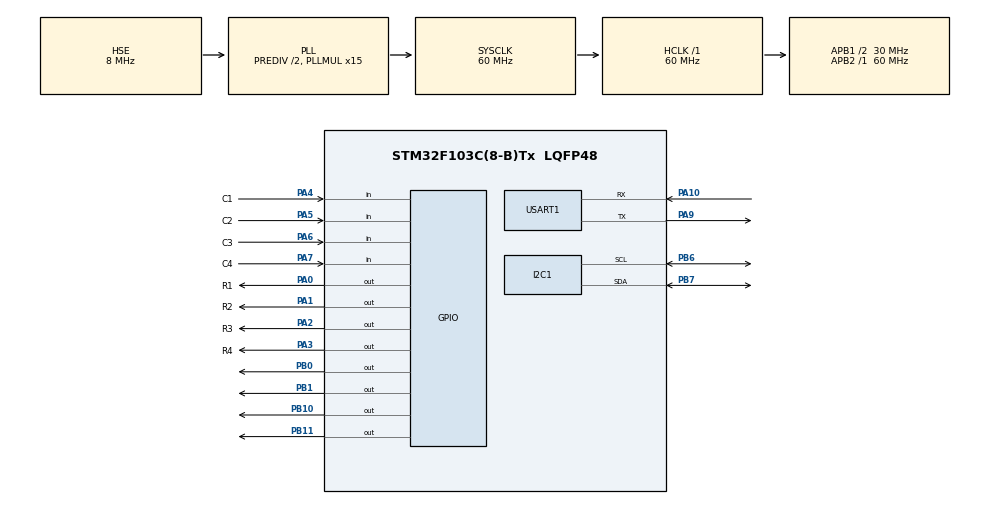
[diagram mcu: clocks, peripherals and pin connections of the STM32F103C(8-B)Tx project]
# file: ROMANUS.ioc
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Mcu.Family=STM32F1
Mcu.Name=STM32F103C(8-B)Tx
Mcu.Package=LQFP48
NVIC.PriorityGroup=NVIC_PRIORITYGROUP_4
NVIC.USART1_IRQn=true\:0\:0\:false\:false\:true\:true\:true\:true
PA0-WKUP.GPIO_Label=R1
PA0-WKUP.GPIO_ModeDefaultOutputPP=GPIO_MODE_OUTPUT_PP
PA0-WKUP.GPIO_PuPd=GPIO_PULLUP
PA0-WKUP.GPIO_Speed=GPIO_SPEED_FREQ_LOW
PA0-WKUP.PinState=GPIO_PIN_RESET
PA0-WKUP.Signal=GPIO_Output
PA1.GPIO_Label=R2
PA1.GPIO_ModeDefaultOutputPP=GPIO_MODE_OUTPUT_PP
PA1.GPIO_PuPd=GPIO_PULLUP
PA1.GPIO_Speed=GPIO_SPEED_FREQ_LOW
PA1.PinState=GPIO_PIN_RESET
PA1.Signal=GPIO_Output
PA10.Mode=Asynchronous
PA10.Signal=USART1_RX
PA13.Mode=Serial_Wire
PA13.Signal=SYS_JTMS-SWDIO
PA14.Mode=Serial_Wire
PA14.Signal=SYS_JTCK-SWCLK
PA2.GPIO_Label=R3
PA2.GPIO_ModeDefaultOutputPP=GPIO_MODE_OUTPUT_PP
PA2.GPIO_PuPd=GPIO_PULLUP
PA2.GPIO_Speed=GPIO_SPEED_FREQ_LOW
PA2.PinState=GPIO_PIN_RESET
PA2.Signal=GPIO_Output
PA3.GPIO_Label=R4
PA3.GPIO_ModeDefaultOutputPP=GPIO_MODE_OUTPUT_PP
PA3.GPIO_PuPd=GPIO_PULLUP
PA3.GPIO_Speed=GPIO_SPEED_FREQ_LOW
PA3.PinState=GPIO_PIN_RESET
PA3.Signal=GPIO_Output
PA4.GPIO_Label=C1
PA4.GPIO_Mode=GPIO_MODE_INPUT
PA4.GPIO_PuPd=GPIO_PULLUP
PA4.Signal=GPIO_Input
PA5.GPIO_Label=C2
PA5.GPIO_Mode=GPIO_MODE_INPUT
PA5.GPIO_PuPd=GPIO_PULLUP
PA5.Signal=GPIO_Input
PA6.GPIO_Label=C3
PA6.GPIO_Mode=GPIO_MODE_INPUT
PA6.GPIO_PuPd=GPIO_PULLUP
PA6.Signal=GPIO_Input
PA7.GPIO_Label=C4
PA7.GPIO_Mode=GPIO_MODE_INPUT
PA7.GPIO_PuPd=GPIO_PULLUP
PA7.Signal=GPIO_Input
PA9.Mode=Asynchronous
PA9.Signal=USART1_TX
PB0.Signal=GPIO_Output
PB1.Signal=GPIO_Output
PB10.Signal=GPIO_Output
PB11.Signal=GPIO_Output
PB6.Mode=I2C
PB6.Signal=I2C1_SCL
PB7.Mode=I2C
PB7.Signal=I2C1_SDA
PD0-OSC_IN.Mode=HSE-External-Oscillator
PD0-OSC_IN.Signal=RCC_OSC_IN
PD1-OSC_OUT.Mode=HSE-External-Oscillator
PD1-OSC_OUT.Signal=RCC_OSC_OUT
ProjectManager.HeapSize=0x200
ProjectManager.StackSize=0x400
ProjectManager.TargetToolchain=MDK-ARM V5.27
RCC.AHBFreq_Value=60000000
RCC.APB1CLKDivider=RCC_HCLK_DIV2
RCC.APB1Freq_Value=30000000
RCC.APB1TimFreq_Value=60000000
RCC.APB2Freq_Value=60000000
RCC.APB2TimFreq_Value=60000000
RCC.HCLKFreq_Value=60000000
RCC.HSEDivPLL=RCC_HSE_PREDIV_DIV2
RCC.PLLMUL=RCC_PLL_MUL15
RCC.PLLSourceVirtual=RCC_PLLSOURCE_HSE
RCC.SYSCLKFreq_VALUE=60000000
RCC.SYSCLKSource=RCC_SYSCLKSOURCE_PLLCLK
RCC.USBFreq_Value=60000000
USART1.VirtualMode=VM_ASYNC
board=custom

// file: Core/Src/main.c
/* USER CODE BEGIN Header */
/**
  ******************************************************************************
  * @file           : main.c
  * @brief          : Main program body
  ******************************************************************************
  * @attention
  *
  * Copyright (c) 2025 STMicroelectronics.
  * All rights reserved.
  *
  * This software is licensed under terms that can be found in the LICENSE file
  * in the root directory of this software component.
  * If no LICENSE file comes with this software, it is provided AS-IS.
  *
  ******************************************************************************
  */
/* USER CODE END Header */
#include "main.h"
/* USER CODE BEGIN Includes */
#include "i2c_lcd.h"
#include "keypad_4x4.h"
#include "stdio.h"
#include <stdlib.h>
#include <string.h>
#include <stdbool.h>
/* USER CODE END Includes */

/* USER CODE BEGIN PTD */
typedef enum{
	SMALL,
	BIG,
}lockerSize;

typedef enum{
	OPENED,
	LOCKED
}lockerState;

enum{
	ROOT_MENU,
	OPTION_1,
	OPTION_2,
	INVALID_KEY
};

typedef enum {
    OPEN_LOCKER,
    CLOSE_LOCKER,
    PRINT_OPENED_NOTICE,  //thong bao locker mo
    PASSWORD_AUTHEN,      //xac thuc mat khau co khop voi mat khau da luu hay không
    SET_NEW_PASSWORD,     //thiet lap mat khau moi
    WAIT_USER,            //cho hanh dong tu nguoi dung
    RELEASE_LOCKER,       //giai phong lock sau khi su dung
    FORCE_OPEN_LOCKER,    //mo locker khi khan cap
    HANDLE_LOCKER,        //su dung
    EXIT_USER_APP         //thoat khoi ung dung nguoi dung
} LockerHandlerState;

typedef enum {               //trang thai hoat dong cua he thong danh cho nguoi su dung
    PRINT_USER_MENU,         //trang thai mac dinh
    PRINT_LOCKERS_STATUS,    //hien thi trang thai tu
    SELECT_A_LOCKER,         //chon tu
    INVALID_USER_OPTION,     //khong hop le
    SET_LOCKER_PASSWORD,     //thiet lap mat khau
    EXIT_USER_MODE           //thoat khoi trang thai nguoi su dung
} UserState;

typedef enum {                //trang thai hoat dong cua he thong danh cho nguoi su dung
    PRINT_USER_MENU1,         //trang thai mac dinh
    PRINT_LOCKERS_STATUS1,    //hien thi trang thai tu
    SELECT_A_LOCKER1,         //chon tu
    INVALID_USER_OPTION1,     //khong hop le
    SET_LOCKER_PASSWORD1,     //thiet lap mat khau
    EXIT_USER_MODE1           //thoat khoi trang thai nguoi su dung
} UserState1;

/* USER CODE END PTD */

/* USER CODE BEGIN PD */
#define PASS_WORD_LENGTH 4
#define NUMBER_OF_LOCKERS 4
#define LOCKER_GPIO_PORT GPIOB
/* USER CODE END PD */

I2C_HandleTypeDef hi2c1;
I2C_LCD_HandleTypeDef lcd1;
UART_HandleTypeDef huart1;

/* USER CODE BEGIN PV */
uint8_t key = 0;
char Rx_data[11]={0};
uint8_t flag_interrupt=0;
/* USER CODE END PV */

void SystemClock_Config(void);
static void MX_GPIO_Init(void);
static void MX_I2C1_Init(void);
static void MX_USART1_UART_Init(void);

/* USER CODE BEGIN 0 */
struct Locker
{
	int lockerID;
	int userID;
	bool isOcupied;
	lockerSize size;
	lockerState state;
	bool isPasswordSet;
	uint16_t io;
	uint8_t password[PASS_WORD_LENGTH];
	uint8_t otp[PASS_WORD_LENGTH];
};

struct  Locker Lockers[NUMBER_OF_LOCKERS];

void initLocker(struct  Locker *Locker, int lockerID, lockerSize size, uint16_t GPIOPin)
{
	Locker->lockerID = lockerID;
	Locker->isOcupied = false;
	Locker->size = size;
	Locker->state = LOCKED;           //closed
	Locker->isPasswordSet = false;
	Locker->userID=-1;
	Locker->io = GPIOPin;
}

void openLocker(struct  Locker *Locker)
{
	HAL_GPIO_WritePin(LOCKER_GPIO_PORT, Locker->io, GPIO_PIN_SET);
}

void closeLocker(struct  Locker *Locker)
{
	HAL_GPIO_WritePin(LOCKER_GPIO_PORT, Locker->io, GPIO_PIN_RESET);
}

void setNumberOTP(struct Locker *Locker) {
    if (Locker == NULL) {
        return;
    }
    int a = 1000, b = 9999;
    int number = rand() % (b - a + 1) + a;
    memset(Locker->otp, 0, PASS_WORD_LENGTH);
    snprintf((char *)Locker->otp, 5, "%d", number);
		return;
}

void setPassword(struct  Locker *Locker, uint8_t *pw, int pwLen)
{
	if(pw == NULL || pwLen != PASS_WORD_LENGTH)
	{
		return;
	}
	Locker->isPasswordSet = 1;
	memcpy(Locker->password, pw, PASS_WORD_LENGTH);
	return;
}
/**
 * @brief return 0 if password matched
 *
 * @param Locker
 * @param pw
 * @param pwLen
 * @return int
 */
int validateLockerAccess(struct Locker *Locker, uint8_t *input, int length) {
    if (!Locker->isOcupied || input == NULL || length != PASS_WORD_LENGTH) {
        return 0;
    }
    if (memcmp(Locker->password, input, PASS_WORD_LENGTH) == 0 ||
        memcmp(Locker->otp, input, PASS_WORD_LENGTH) == 0) {
        return 1;
    }
    return 0;
}

void changePassword(struct  Locker *Locker, uint8_t *pw, int pwLen)
{

}

struct Locker *getNewLocker(lockerSize size)
{
	for(int i = 0; i < NUMBER_OF_LOCKERS; i++)
	{
		if(!Lockers[i].isOcupied && !Lockers[i].isPasswordSet && Lockers[i].size == size)   //chua duoc su dung, co kich thuoc dung
		{
			return &Lockers[i];
		}
	}
	return NULL;
}

void assignLockerToUser(int userID, struct Locker *locker)  //gan locker cho nguoi dung
{
	locker->userID = userID;//chi dinh nguoi dung
	locker->isOcupied = true;  //da duoc su dung
	locker->state = OPENED;
	locker->isPasswordSet = true; //ky la*****
}

void releaseLocker(struct Locker *locker)   //giai phong locker, ve trang thai chua co nguoi dung
{
	locker->userID = 0;
	locker->isOcupied = false;
	locker->state = OPENED;
	locker->isPasswordSet = false;
}
void lcd_print(int line, char *str)
{
	if(str == NULL || (line != 0 && line != 1))
		return;
	lcd_gotoxy(&lcd1, 0, line);
	lcd_puts(&lcd1, str);
}

void printDemoWelcome(void)
{
	lcd_clear(&lcd1);
	lcd_print(0, "STM32 I2C LCD");
	lcd_print(1, "Library Demo");
}

void printRootMenu(void)
{
	lcd_clear(&lcd1);
	lcd_print(0, "1.GUI DO");
	lcd_print(1, "2.LAY DO");
}

void printInvalidOption(void)     //khi nhan nut khong hop le
{
	lcd_clear(&lcd1);
	lcd_print(0, "Invalid option");
	lcd_print(1, "Please again!");
}

void printNoLockerAvailable(void)  //khong còn locker free
{
	lcd_clear(&lcd1);
	lcd_print(0, "Not found!");
	lcd_print(1, "Try again!");
}

void printUserMenu(void)
{
	lcd_clear(&lcd1);
	lcd_print(0, "1. Check Locker Status");
	lcd_print(1, "2. Select a Locker");
}

void printUserMenu1(void)
{
	lcd_clear(&lcd1);
	lcd_print(0, "1. Check Locker Status");
	lcd_print(1, "2. Choose your Locker");
}

void printSelectLockerSize(void)
{
	lcd_clear(&lcd1);
	lcd_print(0, "1. Small Locker");
	lcd_print(1, "2. Big Locker");
}

void printLockerOpenned(struct Locker *mLocker) //hien thi len LCD 1 locker dang mo va yeu cau nguoi dung thiet lap mat khau
{
	lcd_clear(&lcd1);
	char outStr[16];
	snprintf(outStr, 16, "L%d[%c] open, hit",mLocker->lockerID, mLocker->size == SMALL?'S':'B');  //xem xet
	lcd_print(0, outStr);
	lcd_print(1, "a key to set pw");
}
void printLockerClosed(struct Locker *mLocker)  //hien thi thong tin locker dóng thông báo tam biet
{
	lcd_clear(&lcd1);
	char outStr[16];
	snprintf(outStr, 16, "L%d[%c] closed",mLocker->lockerID, mLocker->size == SMALL?'S':'B');  //xem xet
	lcd_print(0, outStr);
	lcd_print(1, "Goodbye...");
}
void printPasswordNotMatch()  //mat khau khong khop
{
	lcd_clear(&lcd1);
	lcd_print(0, "PW not matched");
}

void printPasswordSetSuccess()   //mat khau phu hop
{
	lcd_clear(&lcd1);
	lcd_print(0, "PW is set");
	lcd_print(1, "Sucessful");
}

void printReleaseChoice()  //lua chon tiep tuc su dung hay tra lai tu
{
	lcd_clear(&lcd1);
	lcd_print(0, "Welcome back!");
	HAL_Delay(2000);
	lcd_clear(&lcd1);
	lcd_print(0, "1.Keep using");
	lcd_print(1, "2.Release locker");
}

void printEnjoy(void)   //thong bao nguoi su dung hoan tat viec su dung locker, yeu cau nhan phim bat ky de dóng
{
	lcd_clear(&lcd1);
	lcd_print(0, "Enjoy your");
	lcd_print(1, "locker!");
	HAL_Delay(2000);
	lcd_clear(&lcd1);
	lcd_print(0, "Done? Press Any");
	lcd_print(1, "key to close");
}
void printLockerStatus(void)
{
	char outStr[16];
	lcd_clear(&lcd1);
	int line = 0;
	int offset = 0; //dieu chinh vi tri bat dau in

	for(int i = 0; i < NUMBER_OF_LOCKERS; i++)
	{
		snprintf(outStr, 16, "L%d[%c] %s", Lockers[i].lockerID, \
		Lockers[i].size == SMALL?'S':'B', Lockers[i].isOcupied?"BUSY":"FREE");

		lcd_gotoxy(&lcd1, offset, line);
		lcd_puts(&lcd1, outStr);
		offset += 8;
		if(offset/16){
			line +=1;
			offset = 0;
		}
	}
}

bool isFreeLocker(struct Locker *mLocker)
{
	return !mLocker->isOcupied;
}

void UART_SendString(UART_HandleTypeDef *huart, char *str){
    if(flag_interrupt == 0) {
        flag_interrupt = 1;
        HAL_UART_Transmit_IT(huart, (uint8_t*) str, strlen(str));
    }
}

void HAL_UART_TxCpltCallback(UART_HandleTypeDef *huart)
{
    if (huart->Instance == USART1)
    {
        flag_interrupt = 0;
    }
}

//selectedLocker = key -'0' ;
//Lockers[selectedLocker].lockerID = key ;
//mLocker->lockerID = Lockers[selectedLocker].lockerID;
struct Locker *getYourLocker(int yourLockerID){
    lcd_clear(&lcd1);
    lcd_print(0, "Choose your locker:");
    uint8_t key = 0;
    int count = 0;
    uint8_t selectedLocker = NULL;
	  char lockerStr[2];
    while (1) {
        key = keypad_get_key_value();

        if (key == '0' || key == '1' || key == '2' || key == '3') {
            selectedLocker = key - '0';
					  snprintf(lockerStr, sizeof(lockerStr), "%d", selectedLocker);
            lcd_gotoxy(&lcd1, count++, 1);
            lcd_puts(&lcd1,lockerStr);
        } else if (key == '#') {
            if (count > 0) break;
        }
				else{
					lcd_clear(&lcd1);
          lcd_print(0, "Invalid key!");
          HAL_Delay(1000);
          lcd_clear(&lcd1);
          lcd_print(0, "Choose your locker:");
				}
        HAL_Delay(200);
    }

    yourLockerID = selectedLocker;
    lcd_clear(&lcd1);
    lcd_print(0, "Locker Selected:");
    char outStr[16];
    snprintf(outStr, 16, "Locker %d", yourLockerID);
    lcd_gotoxy(&lcd1, 0, 1);
    lcd_print(1, outStr);
    return &Lockers[yourLockerID];
}

void getPasswordForKeyPass(uint8_t *pw)
{
	lcd_clear(&lcd1);
	lcd_print(0, "PW-4digit"); // Enter 4 last digits, and hit Enter.
	int count = 0;
	uint8_t key;
	key = keypad_get_key_value();

	while(key != '#' || count < PASS_WORD_LENGTH)
	{
		if(count < PASS_WORD_LENGTH){
			pw[count]= key;
			lcd_gotoxy(&lcd1, count++, 1);
			lcd_puts(&lcd1, "*");
		}else{
			for(int i = 0; i < PASS_WORD_LENGTH - 1; i++)      //khi vuot quá do dài mat khau, dich mang và thêm ký tu moi
			{
				pw[i] = pw[i+1];
			}
			pw[PASS_WORD_LENGTH - 1]= key - '0';
		}
		key = keypad_get_key_value();
	}
	return;
}

void getVerifyPassword(uint8_t *pw)
{
	lcd_clear(&lcd1);
	lcd_print(0, "Verify PW"); // Enter 4 last digits, and hit Enter.
	int count = 0;
	uint8_t key;
	key = keypad_get_key_value();
	while(key != '#' || count < PASS_WORD_LENGTH)
	{
		if(count < PASS_WORD_LENGTH){
			pw[count]= key;
			lcd_gotoxy(&lcd1, count++, 1);
			lcd_puts(&lcd1, "*");
		}else{
			for(int i = 0; i < PASS_WORD_LENGTH - 1; i++)
			{
				pw[i] = pw[i+1];
 			}
			pw[PASS_WORD_LENGTH - 1]= key - '0';
		}
		key = keypad_get_key_value();
	}
	return;
}

int lockerHandler(struct Locker *mLocker)
{
	int _state = OPEN_LOCKER;
	uint8_t pw[PASS_WORD_LENGTH];    //luu tru mat khau
	uint8_t confirmPW[PASS_WORD_LENGTH];   //mat khau xac nhan
	memset(pw, 0, PASS_WORD_LENGTH);
	memset(confirmPW, 0, PASS_WORD_LENGTH);
	uint8_t key;
	while(1)
	{
		switch(_state){
			case OPEN_LOCKER:
				if(isFreeLocker(mLocker))   //kiem tra locker dang ranh hay không
				{
					// do open.
					openLocker(mLocker);   //open locker
					_state = PRINT_OPENED_NOTICE;   //thong bao
				}
				else{
					_state = PASSWORD_AUTHEN;   //tu da duoc dung. xac nhan xem mat khau co dung không
				}
				break;
			case FORCE_OPEN_LOCKER:  //mo khân câp
				// do open here
				openLocker(mLocker);
			  setNumberOTP(mLocker);
			  char msg[30];
			  sprintf(msg,"L%d is Opened. New OTP:%s\r\n",mLocker->lockerID, mLocker->otp);
        UART_SendString(&huart1, msg);
				printReleaseChoice();
				key = keypad_get_key_value();
				if(key == '1')
				{
					_state = WAIT_USER;      //tiep tuc su dung
				}else if(key == '2')
				{
					_state = RELEASE_LOCKER;  //tra lai tu
				}
				break;
			case PRINT_OPENED_NOTICE:   //hien thi thong bao tu duoc mo,doi nguoi dung nhan phim xac nhan
				printLockerOpenned(mLocker);
				keypad_get_key_value();//....
				_state = SET_NEW_PASSWORD;
				break;
			case PASSWORD_AUTHEN:         //xac thuc mat khau
			 	getPasswordForKeyPass(pw);  //lay mat khau nguoi dung thông qua keypad
			if(validateLockerAccess(mLocker, pw, PASS_WORD_LENGTH)==1)   //kiem tra mat khau nhap vao
				{
					// match
					_state = FORCE_OPEN_LOCKER;  //mo tu
				}else{
					printPasswordNotMatch();
					HAL_Delay(2000);
					_state = EXIT_USER_APP; //thoat thao tac
				}
				break;

			case SET_NEW_PASSWORD:   //nhap pass moi
				getPasswordForKeyPass(pw);
				getVerifyPassword(confirmPW);
				if(memcmp(pw, confirmPW, PASS_WORD_LENGTH) == 0)
				{
					// matched:
					setPassword(mLocker, pw, PASS_WORD_LENGTH);
					printPasswordSetSuccess();
					HAL_Delay(2000);
					_state = WAIT_USER;
				}else{
					printPasswordNotMatch(); // set new password again
					HAL_Delay(2000);
				}
				break;
			case WAIT_USER:
				printEnjoy();
				assignLockerToUser(mLocker->lockerID, mLocker);          //xac nhan dang su dung tu hoan tat
				keypad_get_key_value();
				_state = CLOSE_LOCKER;
			  break;
			case CLOSE_LOCKER:
				// Do close here;
				closeLocker(mLocker);
			  mLocker->state = LOCKED;
				printLockerClosed(mLocker);
			  HAL_Delay(3000);
				_state = EXIT_USER_APP;
				break;
			case RELEASE_LOCKER:
				releaseLocker(mLocker);
			  closeLocker(mLocker);
				printLockerClosed(mLocker);
				_state = EXIT_USER_APP;
				break;
			case EXIT_USER_APP:
				return 0;
				break;
			default:
				break;
		}
		//if(_state == EXIT_USER_APP) break;
	}
}

int leaveBelongingsHandler(void)
{
	uint8_t pw[PASS_WORD_LENGTH];
	int userState = PRINT_USER_MENU;              //hien thi menu cho nguoi dùng
	uint8_t key = 0;
	struct Locker *mLocker = NULL;
	uint8_t confirmPW[PASS_WORD_LENGTH];
  while(1){
	switch (userState)
	{
	case PRINT_USER_MENU:
		printUserMenu();
		key = keypad_get_key_value();
		if(key == '1')
		{
			userState = PRINT_LOCKERS_STATUS;          //hien thi trang thai tu
		}else if(key == '2')
		{
			userState = SELECT_A_LOCKER;               //chon tu
		}else{
			userState = INVALID_USER_OPTION;           //hien thi nhan nut khong hop le
		}
		break;
	case PRINT_LOCKERS_STATUS:
		// Print lockers status here
		printLockerStatus();
		key = keypad_get_key_value();                 // Press any key to return to main menu;
		userState = PRINT_USER_MENU;
		break;
	case SELECT_A_LOCKER:
		printSelectLockerSize();
		key = keypad_get_key_value();
		if(key == '1')                                    //chon tu nho
		{
			mLocker = getNewLocker(SMALL);
		}else if(key == '2')                            //chon tu to
		{
			mLocker = getNewLocker(BIG);
		}else{
			userState = INVALID_USER_OPTION;                           //lua chon không hop le
			break;
		}
		if(mLocker == NULL)                               //không còn locker
		{
			printNoLockerAvailable();
			HAL_Delay(2000);
			userState = PRINT_USER_MENU;
		}else{
			userState = HANDLE_LOCKER;
		}
		break;
	case HANDLE_LOCKER:
		//lockerHandler(mLocker);
	  if (lockerHandler(mLocker) == 0)
       {
        userState = EXIT_USER_MODE;
				break;
       }
		else{lockerHandler(mLocker); }
		break;
	case INVALID_USER_OPTION:
		printInvalidOption();
		userState = EXIT_USER_MODE;                       //quay lai menu sau 2s
		HAL_Delay(2000);
		break;
	case SET_LOCKER_PASSWORD:
		setPassword(mLocker, pw, PASS_WORD_LENGTH);
		break;
	case EXIT_USER_MODE:
		return 0;
		break;
	default:
		break;
	}
	//if(userState == EXIT_USER_MODE) break;
  }
	//return;
}

int receiveHandler(void){
	uint8_t confirmPW[PASS_WORD_LENGTH];
	struct Locker *mLocker = NULL;
	uint8_t key = 0;
	int _userState1 = PRINT_USER_MENU1;
	int YourID;
	int LockerID;
	while(1){
		switch(_userState1){
			case PRINT_USER_MENU1:
				printUserMenu1();
			  key = keypad_get_key_value();
			  if(key=='1'){
					_userState1 = PRINT_LOCKERS_STATUS1;
				}
				else if(key == '2'){
					_userState1 = SELECT_A_LOCKER1;
				}
				else{
					_userState1 = INVALID_USER_OPTION1;
				}
				break;
			case PRINT_LOCKERS_STATUS1:
				printLockerStatus();
			  key = keypad_get_key_value();
			  _userState1 = PRINT_USER_MENU1;
			  break;
			case SELECT_A_LOCKER1:
				//getYourLocker(LockerID);
			  mLocker = getYourLocker(LockerID);
	    	if(mLocker == NULL)                               //không còn locker
	    	{
	    		printNoLockerAvailable();
	    		HAL_Delay(2000);
	    		_userState1  = PRINT_USER_MENU1;
	    	}else{
	    		if(isFreeLocker(mLocker))   //kiem tra locker dang ranh hay không
				{
					_userState1 = INVALID_USER_OPTION1;   //thong bao
				}
				else{
					_userState1 = HANDLE_LOCKER;
				  }
	    	}
			  break;
			case HANDLE_LOCKER:
				if (lockerHandler(mLocker) == 0)
       {
        _userState1 = EXIT_USER_MODE1;
				break;
       }
		    else{lockerHandler(mLocker); }
			case INVALID_USER_OPTION1:
				printInvalidOption();
	    	_userState1 = EXIT_USER_MODE1;                       //quay lai menu sau 2s
		    HAL_Delay(2000);
		    break;
			case EXIT_USER_MODE1:
		    return 0;
		    break;
			default:
				break;
		}
	}
	return 0;
}

/* USER CODE END 0 */

int main(void)
{

  /* USER CODE BEGIN 1 */
  int mState = ROOT_MENU;
  /* USER CODE END 1 */

  /* MCU Configuration--------------------------------------------------------*/

  /* Reset of all peripherals, Initializes the Flash interface and the Systick. */
  HAL_Init();

  /* Configure the system clock */
  SystemClock_Config();

  /* Initialize all configured peripherals */
  MX_GPIO_Init();
  MX_I2C1_Init();
  MX_USART1_UART_Init();
  /* USER CODE BEGIN 2 */

  lcd1.hi2c = &hi2c1;
	lcd1.address = 0x4E;
	lcd_init(&lcd1);
	initLocker(&Lockers[0], 0, SMALL, GPIO_PIN_0);
	initLocker(&Lockers[1], 1, SMALL, GPIO_PIN_1);
	initLocker(&Lockers[2], 2, BIG, GPIO_PIN_10);
	initLocker(&Lockers[3], 3, BIG, GPIO_PIN_11);

	printDemoWelcome();
	HAL_Delay(3000);
  /* USER CODE END 2 */

  /* Infinite loop */
  while (1)
  {
		switch (mState)
		{
		case ROOT_MENU:
			printRootMenu();
			key = keypad_get_key_value();
			if(key == '1')
			{
				mState = OPTION_1;
			}else if(key == '2')
			{
				mState = OPTION_2;
			}else{
				mState = INVALID_KEY;
			}
			break;
		case OPTION_1:
			leaveBelongingsHandler();
		  if(leaveBelongingsHandler() == 0){
			mState = ROOT_MENU;}
			break;

		case OPTION_2:
			receiveHandler();
			HAL_Delay(2000);
			mState = ROOT_MENU;
			break;
		case INVALID_KEY:
			printInvalidOption();
			HAL_Delay(2000);
			mState = ROOT_MENU;
			break;
		default:
			break;
		}

  }
}

void SystemClock_Config(void)
{
  RCC_OscInitTypeDef RCC_OscInitStruct = {0};
  RCC_ClkInitTypeDef RCC_ClkInitStruct = {0};

  /** Initializes the RCC Oscillators according to the specified parameters
  * in the RCC_OscInitTypeDef structure.
  */
  RCC_OscInitStruct.OscillatorType = RCC_OSCILLATORTYPE_HSE;
  RCC_OscInitStruct.HSEState = RCC_HSE_ON;
  RCC_OscInitStruct.HSEPredivValue = RCC_HSE_PREDIV_DIV2;
  RCC_OscInitStruct.HSIState = RCC_HSI_ON;
  RCC_OscInitStruct.PLL.PLLState = RCC_PLL_ON;
  RCC_OscInitStruct.PLL.PLLSource = RCC_PLLSOURCE_HSE;
  RCC_OscInitStruct.PLL.PLLMUL = RCC_PLL_MUL15;
  if (HAL_RCC_OscConfig(&RCC_OscInitStruct) != HAL_OK)
  {
    Error_Handler();
  }

  /** Initializes the CPU, AHB and APB buses clocks
  */
  RCC_ClkInitStruct.ClockType = RCC_CLOCKTYPE_HCLK|RCC_CLOCKTYPE_SYSCLK
                              |RCC_CLOCKTYPE_PCLK1|RCC_CLOCKTYPE_PCLK2;
  RCC_ClkInitStruct.SYSCLKSource = RCC_SYSCLKSOURCE_PLLCLK;
  RCC_ClkInitStruct.AHBCLKDivider = RCC_SYSCLK_DIV1;
  RCC_ClkInitStruct.APB1CLKDivider = RCC_HCLK_DIV2;
  RCC_ClkInitStruct.APB2CLKDivider = RCC_HCLK_DIV1;

  if (HAL_RCC_ClockConfig(&RCC_ClkInitStruct, FLASH_LATENCY_2) != HAL_OK)
  {
    Error_Handler();
  }
}

static void MX_I2C1_Init(void)
{

  hi2c1.Instance = I2C1;
  hi2c1.Init.ClockSpeed = 100000;
  hi2c1.Init.DutyCycle = I2C_DUTYCYCLE_2;
  hi2c1.Init.OwnAddress1 = 0;
  hi2c1.Init.AddressingMode = I2C_ADDRESSINGMODE_7BIT;
  hi2c1.Init.DualAddressMode = I2C_DUALADDRESS_DISABLE;
  hi2c1.Init.OwnAddress2 = 0;
  hi2c1.Init.GeneralCallMode = I2C_GENERALCALL_DISABLE;
  hi2c1.Init.NoStretchMode = I2C_NOSTRETCH_DISABLE;
  if (HAL_I2C_Init(&hi2c1) != HAL_OK)
  {
    Error_Handler();
  }

}

static void MX_USART1_UART_Init(void)
{

  huart1.Instance = USART1;
  huart1.Init.BaudRate = 115200;
  huart1.Init.WordLength = UART_WORDLENGTH_8B;
  huart1.Init.StopBits = UART_STOPBITS_1;
  huart1.Init.Parity = UART_PARITY_NONE;
  huart1.Init.Mode = UART_MODE_TX_RX;
  huart1.Init.HwFlowCtl = UART_HWCONTROL_NONE;
  huart1.Init.OverSampling = UART_OVERSAMPLING_16;
  if (HAL_UART_Init(&huart1) != HAL_OK)
  {
    Error_Handler();
  }

}

static void MX_GPIO_Init(void)
{
  GPIO_InitTypeDef GPIO_InitStruct = {0};

  /* GPIO Ports Clock Enable */
  __HAL_RCC_GPIOD_CLK_ENABLE();
  __HAL_RCC_GPIOA_CLK_ENABLE();
  __HAL_RCC_GPIOB_CLK_ENABLE();

  /*Configure GPIO pin Output Level */
  HAL_GPIO_WritePin(GPIOA, R1_Pin|R2_Pin|R3_Pin|R4_Pin, GPIO_PIN_RESET);

  /*Configure GPIO pin Output Level */
  HAL_GPIO_WritePin(GPIOB, GPIO_PIN_0|GPIO_PIN_1|GPIO_PIN_10|GPIO_PIN_11, GPIO_PIN_RESET);

  /*Configure GPIO pins : R1_Pin R2_Pin R3_Pin R4_Pin */
  GPIO_InitStruct.Pin = R1_Pin|R2_Pin|R3_Pin|R4_Pin;
  GPIO_InitStruct.Mode = GPIO_MODE_OUTPUT_PP;
  GPIO_InitStruct.Pull = GPIO_PULLUP;
  GPIO_InitStruct.Speed = GPIO_SPEED_FREQ_LOW;
  HAL_GPIO_Init(GPIOA, &GPIO_InitStruct);

  /*Configure GPIO pins : C1_Pin C2_Pin C3_Pin C4_Pin */
  GPIO_InitStruct.Pin = C1_Pin|C2_Pin|C3_Pin|C4_Pin;
  GPIO_InitStruct.Mode = GPIO_MODE_INPUT;
  GPIO_InitStruct.Pull = GPIO_PULLUP;
  HAL_GPIO_Init(GPIOA, &GPIO_InitStruct);

  /*Configure GPIO pins : PB0 PB1 PB10 PB11 */
  GPIO_InitStruct.Pin = GPIO_PIN_0|GPIO_PIN_1|GPIO_PIN_10|GPIO_PIN_11;
  GPIO_InitStruct.Mode = GPIO_MODE_OUTPUT_PP;
  GPIO_InitStruct.Pull = GPIO_NOPULL;
  GPIO_InitStruct.Speed = GPIO_SPEED_FREQ_LOW;
  HAL_GPIO_Init(GPIOB, &GPIO_InitStruct);

}

void Error_Handler(void)
{
  __disable_irq();
  while (1)
  {
  }
}
